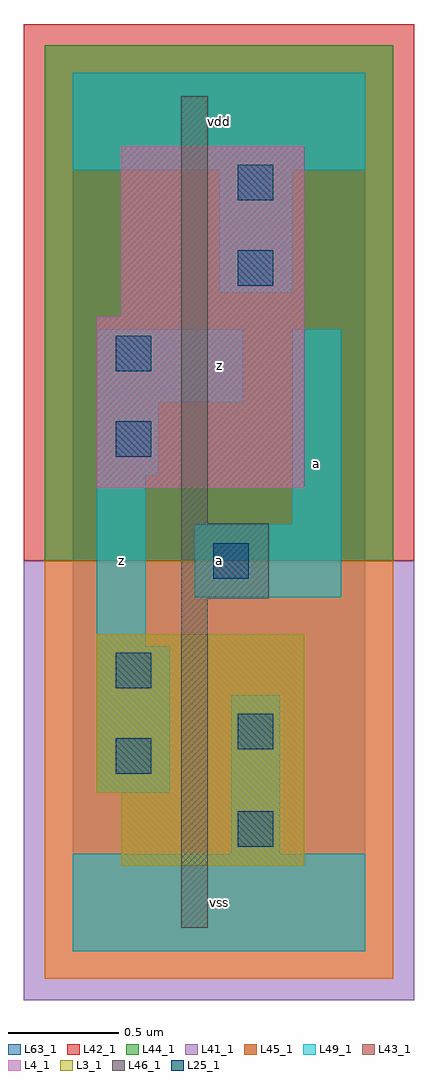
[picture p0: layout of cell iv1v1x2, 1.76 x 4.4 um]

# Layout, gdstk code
import gdstk
lib = gdstk.Library(unit=1e-6, precision=1e-09)
def R(c, l, rs):  # rectangles x0, y0, x1, y1
    for r in rs: c.add(gdstk.rectangle(r[:2], r[2:], *l))
L3_1 = (3, 1)
L4_1 = (4, 1)
L25_1 = (25, 1)
L41_1 = (41, 1)
L42_1 = (42, 1)
L43_1 = (43, 1)
L44_1 = (44, 1)
L45_1 = (45, 1)
L46_1 = (46, 1)
L49_1 = (49, 1)
L63_1 = (63, 1)

iv1v1x2 = lib.new_cell('iv1v1x2')
R(iv1v1x2, L3_1, [(0.22,0.385,1.045,0.715), (0.11,0.715,1.045,1.43)])
R(iv1v1x2, L4_1, [(0.11,2.09,1.045,2.86), (0.22,2.86,1.045,3.63)])
R(iv1v1x2, L25_1, [(0.745,0.47,0.905,0.63), (0.195,0.8,0.355,0.96), (0.745,0.91,0.905,1.07), (0.195,1.185,0.355,1.345), (0.635,1.68,0.795,1.84), (0.195,2.23,0.355,2.39), (0.195,2.615,0.355,2.775), (0.745,3,0.905,3.16), (0.745,3.385,0.905,3.545)])
R(iv1v1x2, L41_1, [(-0.22,-0.22,1.54,1.76)])
R(iv1v1x2, L42_1, [(-0.22,1.76,1.54,4.18)])
R(iv1v1x2, L43_1, [(0.22,0.385,1.045,0.715), (0.11,0.715,1.045,1.43), (0.11,2.09,1.045,2.86), (0.22,2.86,1.045,3.63)])
R(iv1v1x2, L44_1, [(-0.125,1.76,1.445,4.085)])
R(iv1v1x2, L45_1, [(-0.125,-0.125,1.445,1.76)])
R(iv1v1x2, L46_1, [(0.49,0.105,0.61,1.59), (0.49,1.59,0.885,1.93), (0.49,1.93,0.61,3.855)])
R(iv1v1x2, L49_1, [(0,0,1.32,0.44), (0.715,0.44,0.935,1.155), (0.11,0.715,0.44,1.375), (0.11,1.375,0.33,2.145), (0.55,1.595,1.21,1.925), (0.99,1.925,1.21,2.805), (0.11,2.145,0.385,2.475), (0.11,2.475,0.77,2.805), (0.66,2.97,0.99,3.52), (0,3.52,1.32,3.96)])
R(iv1v1x2, L63_1, [(0,0,1.32,3.96)])
iv1v1x2.add(gdstk.Label('z', (0.22,1.76), layer=49, texttype=1))
iv1v1x2.add(gdstk.Label('vss', (0.66,0.22), layer=49, texttype=1))
iv1v1x2.add(gdstk.Label('a', (0.66,1.76), layer=49, texttype=1))
iv1v1x2.add(gdstk.Label('z', (0.66,2.64), layer=49, texttype=1))
iv1v1x2.add(gdstk.Label('vdd', (0.66,3.74), layer=49, texttype=1))
iv1v1x2.add(gdstk.Label('a', (1.1,2.2), layer=49, texttype=1))

lib.write_gds('iv1v1x2.gds')
